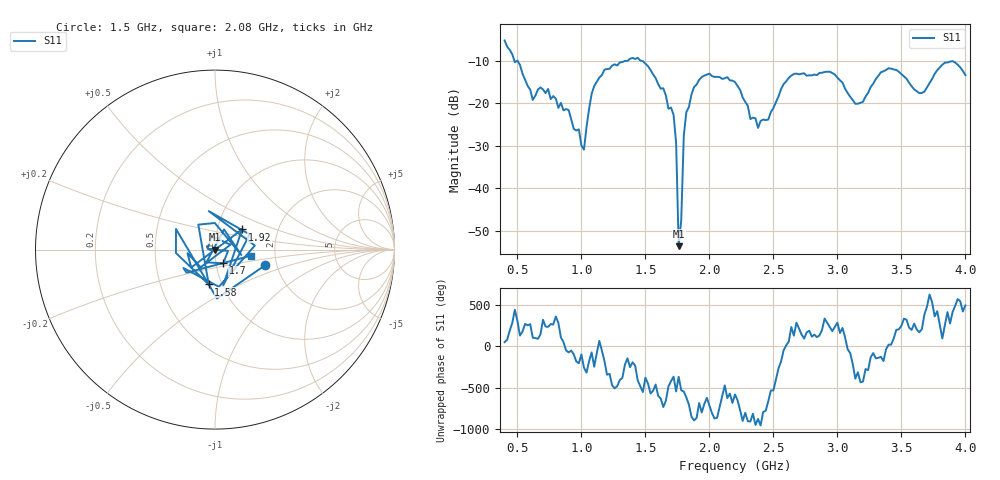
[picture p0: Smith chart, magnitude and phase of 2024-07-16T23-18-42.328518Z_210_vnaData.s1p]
!Created with skrf (http://scikit-rf.org).
# Hz S RI R 50.0
!freq ReS11 ImS11
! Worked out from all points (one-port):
!   181 points, 400 MHz to 4 GHz, reference 50 ohm
!   lowest |S11| = -53.6 dB at 1.76 GHz (marker M1), VSWR 1.00, Z = 50.2 - j0.0249 ohm
!   |S11| at or under -10 dB: 476 MHz to 499 MHz (22.96 MHz wide, 4.71 % of centre); 500.4 MHz to 1.362 GHz (861.3 MHz wide, 92.5 % of centre); 1.466 GHz to end of sweep
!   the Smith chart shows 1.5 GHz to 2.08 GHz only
!   S11 on the Smith chart (normalised r, x): 1.5 GHz: 1.73, -0.33; 1.58 GHz: 0.87, -0.35; 1.7 GHz: 1.08, -0.17; 1.92 GHz: 1.31, +0.31; 2.08 GHz: 1.50, -0.11
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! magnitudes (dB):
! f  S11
! 400 MHz  -5.2
! 620 MHz  -19.2
! 740 MHz  -16.7
! 860 MHz  -21.7
! 1.02 GHz  -30.9
! 1.1 GHz  -16.0
! 1.3 GHz  -10.4
! 1.5 GHz  -10.7
! 1.58 GHz  -14.1
! 1.7 GHz  -21.0
! 1.74 GHz  -29.3
! 1.76 GHz  -53.6
! 1.78 GHz  -47.5
! 1.8 GHz  -27.6
! 1.82 GHz  -22.1
! 1.92 GHz  -14.5
! 2.08 GHz  -13.8
! 2.2 GHz  -15.0
! 2.38 GHz  -25.8
! 2.66 GHz  -13.1
! 2.94 GHz  -12.6
! 3.1 GHz  -18.5
! 3.2 GHz  -19.7
! 3.4 GHz  -11.8
! 3.56 GHz  -15.2
! 3.66 GHz  -17.6
! 3.9 GHz  -10.1
! 4 GHz  -13.4
